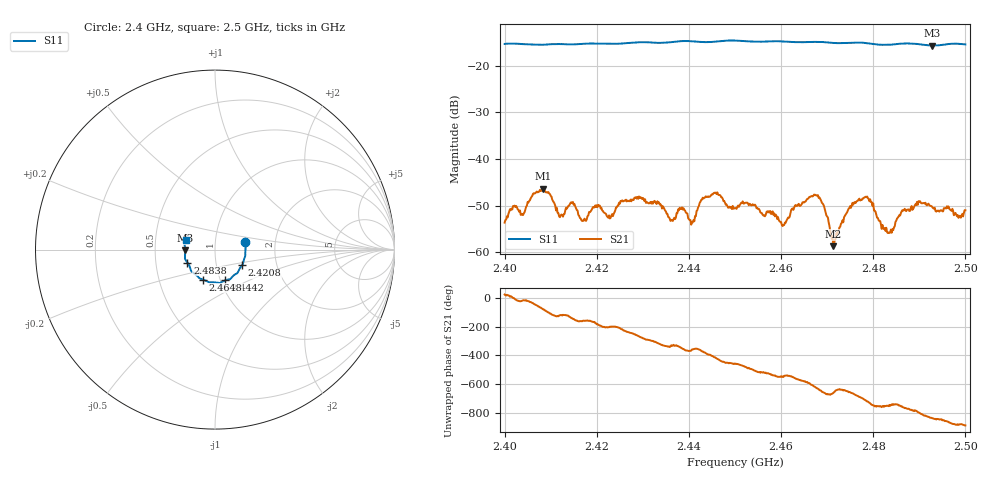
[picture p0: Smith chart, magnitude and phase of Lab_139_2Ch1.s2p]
# Hz S RI R 50
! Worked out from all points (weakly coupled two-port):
!   601 points, 2.4 GHz to 2.5 GHz, reference 50 ohm
!   highest |S21| = -46.40 dB at 2.4083 GHz (marker M1); lowest = -58.7 dB at 2.4713 GHz (marker M2)
!   lowest |S11| = -15.6 dB at 2.4928 GHz (marker M3), VSWR 1.40, Z = 35.8 - j0.357 ohm
!   |S11| at or under -10 dB: start of sweep to end of sweep
!   S12 and S22 are empty: the file has one direction only
!   S11 on the Smith chart (normalised r, x): 2.4 GHz: 1.40, +0.12; 2.4208 GHz: 1.33, -0.24; 2.4442 GHz: 1.05, -0.37; 2.4648 GHz: 0.83, -0.29; 2.4838 GHz: 0.73, -0.11; 2.5 GHz: 0.72, +0.08
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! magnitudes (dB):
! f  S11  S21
! 2.4 GHz  -15.3  -53.7
! 2.4083 GHz  -15.4  -46.4
! 2.412 GHz  -15.3  -52.5
! 2.4147 GHz  -15.4  -49.5
! 2.4167 GHz  -15.2  -53.2
! 2.4208 GHz  -15.2  -50.6
! 2.4333 GHz  -15.0  -49.4
! 2.4407 GHz  -14.7  -53.5
! 2.4442 GHz  -14.9  -48.0
! 2.45 GHz  -14.5  -50.5
! 2.4605 GHz  -14.7  -54.2
! 2.4648 GHz  -14.9  -49.3
! 2.4667 GHz  -14.8  -48.0
! 2.4688 GHz  -14.8  -49.4
! 2.4713 GHz  -15.0  -58.7
! 2.475 GHz  -15.0  -50.1
! 2.4782 GHz  -15.0  -48.2
! 2.4833 GHz  -15.5  -55.8
! 2.4838 GHz  -15.4  -55.2
! 2.4865 GHz  -15.2  -51.1
! 2.4928 GHz  -15.6  -50.4
! 2.5 GHz  -15.4  -51.0
